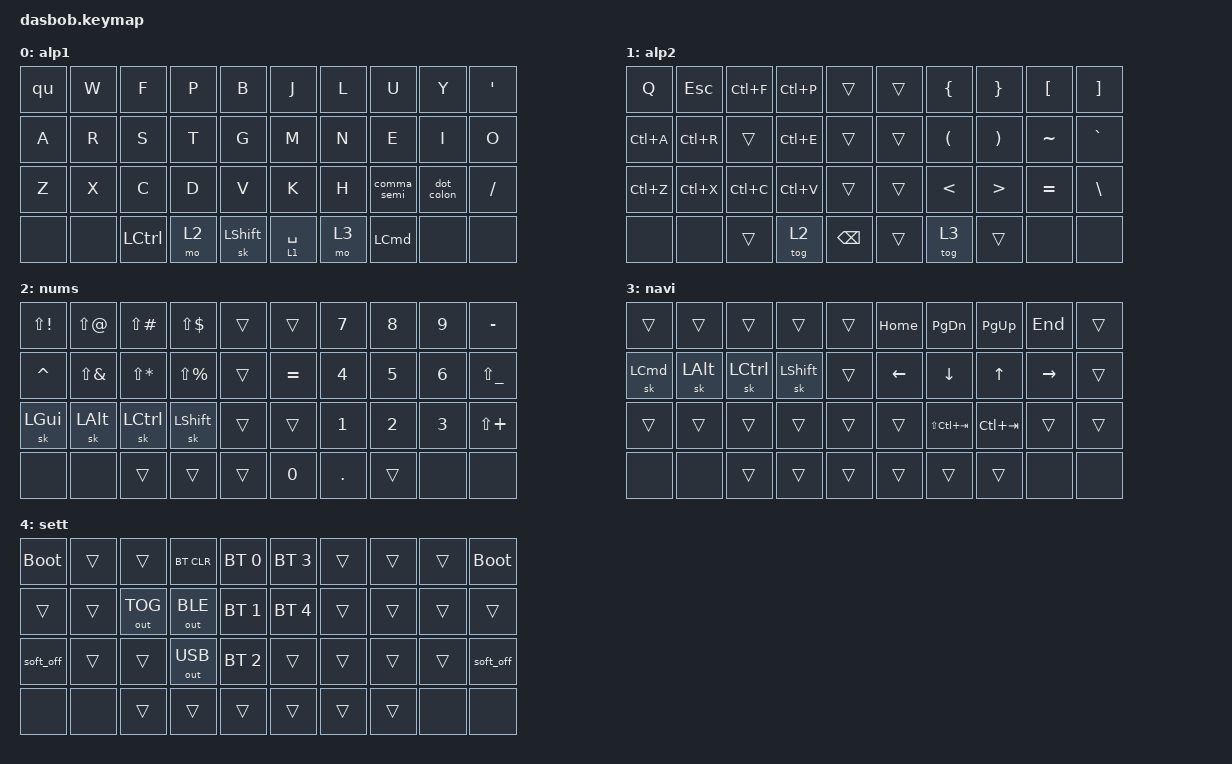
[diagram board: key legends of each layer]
#include <behaviors.dtsi>
#include <dt-bindings/zmk/bt.h>
#include <dt-bindings/zmk/keys.h>
#include <dt-bindings/zmk/outputs.h>

#define COMBO(NAME, BINDINGS, KEYPOS, LAYERS) \
combo_##NAME { \
    timeout-ms = <20>; \
    bindings = <BINDINGS>; \
    key-positions = <KEYPOS>; \
    layers = <LAYERS>; \
};

&sk {
    // don't release mods on other mods presses

    ignore-modifiers;
};

/ {
    behaviors {
        hl: homerow_mods_left {
            compatible = "zmk,behavior-hold-tap";
            label = "homerow mods left";
            #binding-cells = <2>;

            //flavor = "hold-preferred";
            //flavor = "tap-preferred";

            flavor = "balanced";
            tapping-term-ms = <200>;

            //quick-tap-ms = <100>;

            hold-while-undecided;

            //global-quick-tap;

            bindings = <&kp>, <&kp>;

            // opposite side hand keys

            hold-trigger-key-positions = <5 6 7 8 9 15 16 17 18 19 25 26 27 28 29 32 33 34 35 36 37>;
        };

        hr: homerow_mods_right {
            compatible = "zmk,behavior-hold-tap";
            label = "homerow mods right";
            #binding-cells = <2>;

            //flavor = "hold-preferred";
            //flavor = "tap-preferred";

            flavor = "balanced";
            tapping-term-ms = <200>;
            hold-while-undecided;

            //quick-tap-ms = <100>;
            //global-quick-tap;

            bindings = <&kp>, <&kp>;

            // opposite side hand keys

            hold-trigger-key-positions = <0 1 2 3 4 10 11 12 13 14 20 21 22 23 24 32 33 34 35 36 37>;
        };

        qlt: quick_layer_tap {
            compatible = "zmk,behavior-hold-tap";
            label = "quick layer tap";
            #binding-cells = <2>;
            flavor = "balanced";
            tapping-term-ms = <210>;

            //hold-while-undecided;

            bindings = <&mo>, <&kp>;
        };

        dot_colon: dot_colon {
            compatible = "zmk,behavior-mod-morph";
            label = "Dot shifted to colon";
            bindings = <&kp PERIOD>, <&kp COLON>;

            #binding-cells = <0>;
            mods = <(MOD_LSFT|MOD_RSFT)>;
        };

        comma_semi: comma_semi {
            compatible = "zmk,behavior-mod-morph";
            label = "Comma shifted to semicolon";
            bindings = <&kp COMMA>, <&kp SEMI>;

            #binding-cells = <0>;
            mods = <(MOD_LSFT|MOD_RSFT)>;
        };
    };

    combos {
        compatible = "zmk,combos";

        combo_esc {
            timeout-ms = <50>;
            layers = <0>;
            key-positions = <1 2>;
            bindings = <&kp ESC>;
        };

        combo_tab {
            timeout-ms = <35>;
            layers = <0>;
            key-positions = <23 22>;
            bindings = <&kp TAB>;
        };

        combo_settings_left {
            bindings = <&mo 4>;
            key-positions = <33 34>;
        };

        combo_settings_right {
            bindings = <&mo 4>;
            key-positions = <36 35>;
        };

        combo_capsword {
            bindings = <&caps_word>;
            key-positions = <22 21>;
            layers = <0>;
        };

        combo_enter {
            bindings = <&kp ENTER>;
            key-positions = <27 26>;
            layers = <0>;
        };

        combo_apostophe {
            bindings = <&kp APOS>;
            key-positions = <9 19>;
            layers = <0>;
        };

        combo_wh {
            bindings = <&wh>;
            key-positions = <1 16>;
            timeout-ms = <65>;
            layers = <0>;
        };

        combo_th {
            bindings = <&th>;
            key-positions = <12 13>;
            layers = <0>;
        };

        combo_ing {
            bindings = <&ing>;
            key-positions = <18 17>;
            layers = <0>;
        };

        combo_sh {
            bindings = <&sh>;
            key-positions = <16 12>;
            layers = <0>;
            timeout-ms = <65>;
        };

        combo_ck {
            bindings = <&ck>;
            key-positions = <16 2>;
            timeout-ms = <65>;
            layers = <0>;
        };

        combo_gh {
            bindings = <&gh>;
            key-positions = <16 13>;
            timeout-ms = <65>;
            layers = <0>;
        };

        combo_ou {
            bindings = <&ou>;
            key-positions = <19 18>;
            timeout-ms = <45>;
            layers = <0>;
        };

        combo_able {
            bindings = <&able>;
            key-positions = <10 13>;
            timeout-ms = <35>;
            layers = <0>;
        };

        comb_ion {
            bindings = <&ion>;
            key-positions = <18 16>;
            timeout-ms = <35>;
            layers = <0>;
        };

        combo_ch {
            bindings = <&ch>;
            key-positions = <22 16>;
            timeout-ms = <65>;
            layers = <0>;
        };

        combo_repeat_left {
            bindings = <&key_repeat>;
            key-positions = <33 32>;
        };

        combo_repeat_right {
            bindings = <&key_repeat>;
            key-positions = <36 37>;
        };

        combo_b {
            bindings = <&kp B>;
            key-positions = <3 13>;
            timeout-ms = <50>;
            layers = <0>;
        };

        combo_v {
            bindings = <&kp V>;
            key-positions = <2 12>;
            timeout-ms = <50>;
            layers = <0>;
        };

        combo_j {
            bindings = <&kp J>;
            key-positions = <6 16>;
            timeout-ms = <50>;
            layers = <0>;
        };

        combo_k {
            bindings = <&kp K>;
            key-positions = <7 17>;
            timeout-ms = <50>;
            layers = <0>;
        };

        combo_quote {
            bindings = <&kp DOUBLE_QUOTES>;
            key-positions = <0 10>;
            layers = <0>;
        };

        // COMBO(shiftablesch, &macro_shiftable_sch, 17 18, 0)
        // COMBO(UML_AE, &kp SQT , 11 12, 0)
        // COMBO(UML_OE, &kp SEMI, 12 13, 0)
        // COMBO(UML_UE, &kp LBKT, 10 11, 0)
        // COMBO(DE_SS, &kp MINUS, 18 19, 0)
    };

    macros {
        qu: macro_qu {
            compatible = "zmk,behavior-macro";
            #binding-cells = <0>;
            bindings =
                <&macro_tap>,
                <&kp Q>,
                <&macro_release>,
                <&kp LSHIFT &kp RSHIFT>,
                <&macro_tap>,
                <&kp U>;

            label = "MACRO_QU";
        };

        wh: wh {
            compatible = "zmk,behavior-macro";
            #binding-cells = <0>;
            bindings =
                <&macro_tap>,
                <&kp W>,
                <&macro_release>,
                <&kp LSHIFT &kp RSHIFT>,
                <&macro_tap>,
                <&kp H>;

            label = "WH";
        };

        th: th {
            compatible = "zmk,behavior-macro";
            #binding-cells = <0>;
            bindings =
                <&macro_tap>,
                <&kp T>,
                <&macro_release>,
                <&kp LSHIFT &kp RSHIFT>,
                <&macro_tap>,
                <&kp H>;

            label = "TH";
        };

        ing: ing {
            compatible = "zmk,behavior-macro";
            #binding-cells = <0>;
            bindings = <&kp I &kp N &kp G>;
            label = "ING";
        };

        ch: ch {
            compatible = "zmk,behavior-macro";
            #binding-cells = <0>;
            bindings =
                <&macro_tap>,
                <&kp C>,
                <&macro_release>,
                <&kp LSHIFT &kp RSHIFT>,
                <&macro_tap>,
                <&kp H>;

            label = "CH";
        };

        sh: sh {
            compatible = "zmk,behavior-macro";
            #binding-cells = <0>;
            bindings =
                <&macro_tap>,
                <&kp S>,
                <&macro_release>,
                <&kp LSHIFT &kp RSHIFT>,
                <&macro_tap>,
                <&kp H>;

            label = "SH";
        };

        ck: ck {
            compatible = "zmk,behavior-macro";
            #binding-cells = <0>;
            bindings =
                <&macro_tap>,
                <&kp C>,
                <&macro_release>,
                <&kp LSHIFT &kp RSHIFT>,
                <&macro_tap>,
                <&kp K>;

            label = "CK";
        };

        gh: gh {
            compatible = "zmk,behavior-macro";
            #binding-cells = <0>;
            bindings =
                <&macro_tap>,
                <&kp G>,
                <&macro_release>,
                <&kp LSHIFT &kp RSHIFT>,
                <&macro_tap>,
                <&kp H>;

            label = "GH";
        };

        ou: ou {
            compatible = "zmk,behavior-macro";
            #binding-cells = <0>;
            bindings =
                <&macro_tap>,
                <&kp O>,
                <&macro_release>,
                <&kp LSHIFT &kp RSHIFT>,
                <&macro_tap>,
                <&kp U>;

            label = "OU";
        };

        ess: ess {
            compatible = "zmk,behavior-macro";
            #binding-cells = <0>;
            bindings =
                <&macro_tap>,
                <&kp E>,
                <&macro_release>,
                <&kp LSHIFT &kp RSHIFT>,
                <&macro_tap>,
                <&kp S &kp S>;

            label = "ESS";
        };

        est: est {
            compatible = "zmk,behavior-macro";
            #binding-cells = <0>;
            bindings =
                <&macro_tap>,
                <&kp E>,
                <&macro_release>,
                <&kp LSHIFT &kp RSHIFT>,
                <&macro_tap>,
                <&kp S &kp T>;

            label = "EST";
        };

        ist: ist {
            compatible = "zmk,behavior-macro";
            #binding-cells = <0>;
            bindings =
                <&macro_tap>,
                <&kp I>,
                <&macro_release>,
                <&kp LSHIFT &kp RSHIFT>,
                <&macro_tap>,
                <&kp S &kp T>;

            label = "IST";
        };

        able: able {
            compatible = "zmk,behavior-macro";
            #binding-cells = <0>;
            bindings =
                <&macro_tap>,
                <&kp A>,
                <&macro_release>,
                <&kp LSHIFT &kp RSHIFT>,
                <&macro_tap>,
                <&kp B &kp L &kp E>;

            label = "ABLE";
        };

        ion: ion {
            compatible = "zmk,behavior-macro";
            #binding-cells = <0>;
            bindings =
                <&macro_tap>,
                <&kp I>,
                <&macro_release>,
                <&kp LSHIFT &kp RSHIFT>,
                <&macro_tap>,
                <&kp O &kp N>;

            label = "ION";
        };
    };

    // &mt { tapping-term-ms = <400>; };

    keymap {
        compatible = "zmk,keymap";

        // This is a sample keymap intended to be replaced with your own

        ALPHA1_LAYER {
            bindings = <
&qu    &kp W  &kp F             &kp P  &kp B      &kp J         &kp L  &kp U             &kp Y       &kp APOSTROPHE
&kp A  &kp R  &kp S             &kp T  &kp G      &kp M         &kp N  &kp E             &kp I       &kp O
&kp Z  &kp X  &kp C             &kp D  &kp V      &kp K         &kp H  &comma_semi       &dot_colon  &kp FSLH
&none  &none  &kp LEFT_CONTROL  &mo 2  &sk LSHFT  &qlt 1 SPACE  &mo 3  &kp LEFT_COMMAND  &none       &none
            >;

            label = "alp1";
        };

        ALPHA2_LAYER {
            bindings = <
&kp Q      &kp ESC    &kp LC(F)  &kp LC(P)  &trans         &trans  &kp LEFT_BRACE        &kp RIGHT_BRACE        &kp LEFT_BRACKET  &kp RIGHT_BRACKET
&kp LC(A)  &kp LC(R)  &trans     &kp LC(E)  &trans         &trans  &kp LEFT_PARENTHESIS  &kp RIGHT_PARENTHESIS  &kp TILDE         &kp GRAVE
&kp LC(Z)  &kp LC(X)  &kp LC(C)  &kp LC(V)  &trans         &trans  &kp LESS_THAN         &kp GREATER_THAN       &kp EQUAL         &kp BSLH
&none      &none      &trans     &tog 2     &kp BACKSPACE  &trans  &tog 3                &trans                 &none             &none
            >;

            label = "alp2";
        };

        NUM_SYM_LAYER {
            bindings = <
&kp LS(EXCL)  &kp LS(AT)    &kp LS(POUND)  &kp LS(DLLR)     &trans  &trans     &kp N7   &kp N8  &kp N9  &kp MINUS
&kp CARET     &kp LS(AMPS)  &kp LS(STAR)   &kp LS(PERCENT)  &trans  &kp EQUAL  &kp N4   &kp N5  &kp N6  &kp LS(UNDER)
&sk LGUI      &sk LALT      &sk LCTRL      &sk LSHFT        &trans  &trans     &kp N1   &kp N2  &kp N3  &kp LS(PLUS)
&none         &none         &trans         &trans           &trans  &kp N0     &kp DOT  &trans  &none   &none
            >;

            label = "nums";
        };

        NAV_LAYER {
            bindings = <
&trans    &trans    &trans     &trans     &trans  &kp HOME  &kp PG_DN        &kp PG_UP    &kp END    &trans
&sk LCMD  &sk LALT  &sk LCTRL  &sk LSHFT  &trans  &kp LEFT  &kp DOWN         &kp UP       &kp RIGHT  &trans
&trans    &trans    &trans     &trans     &trans  &trans    &kp LS(LC(TAB))  &kp LC(TAB)  &trans     &trans
&none     &none     &trans     &trans     &trans  &trans    &trans           &trans       &none      &none
            >;

            label = "navi";
        };

        SETTINGS_LAYER {
            bindings = <
&bootloader  &trans  &trans        &bt BT_CLR    &bt BT_SEL 0  &bt BT_SEL 3  &trans  &trans  &trans  &bootloader
&trans       &trans  &out OUT_TOG  &out OUT_BLE  &bt BT_SEL 1  &bt BT_SEL 4  &trans  &trans  &trans  &trans
&soft_off    &trans  &trans        &out OUT_USB  &bt BT_SEL 2  &trans        &trans  &trans  &trans  &soft_off
&none        &none   &trans        &trans        &trans        &trans        &trans  &trans  &none   &none
            >;

            label = "sett";
        };
    };
};
